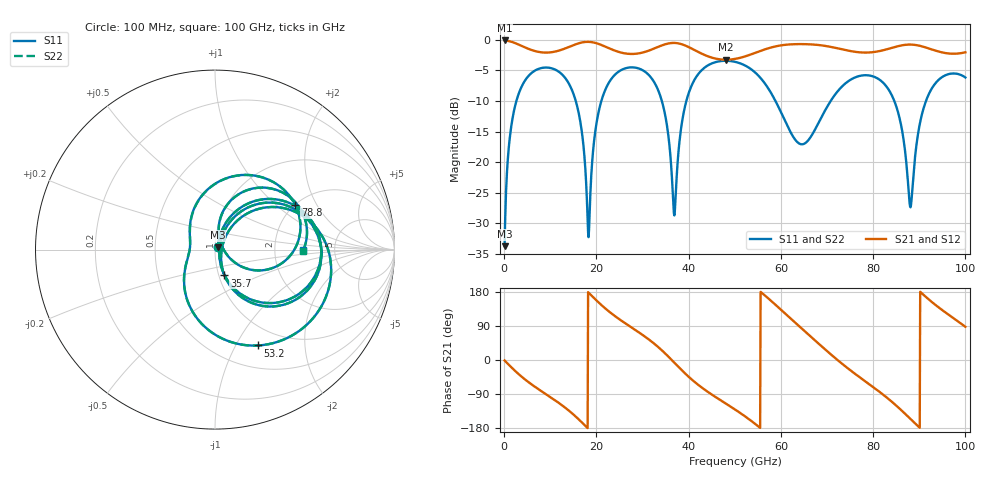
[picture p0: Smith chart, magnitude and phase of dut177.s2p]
! Touchstone file exported from HFSS 2026.1.0
!  File:  C:/ffzhzh/LocalFiles/Ansys_Project_Files/temp_train_TSV_RDL_177_1783652410_26216.aedt
!  Generated:  11:14:21 AM Jul 10, 2026
!  Design:  TSV_RDL
!  Project:  temp_train_TSV_RDL_177_1783652410_26216
! Variables:
!  h_bsmrdl = 3.54um
!  h_ox = 20um
!  h_rdl = 5um
!  h_sub = 58.97um
!  h_tmrdl = 4.46um
!  h_tsv = 58.97um
!  h_via = 3um
!  l_bsmrdl = 595.18um
!  l_sub = 3546.4um
!  l_tmrdl = 305.34um
!  m_sub = 200um
!  pitch = 54.97um
!  r_tsv = 6.16um
!  s_tmrdl = 10um
!  w_bsmrdl = 18.6um
!  w_sub = 500um
!  w_tmrdl = 27.9um
!  x_tsv_center1 = 319.29um
!  x_tsv_center2 = 933.07um
!  x_tsv_center3 = 1266.31um
!  x_tsv_center4 = 1880.09um
!  x_tsv_center5 = 2213.33um
!  x_tsv_center6 = 2827.11um
# GHz S MA R 50.000000
! Terminal data exported
! Port[1] = TM_RDL1_1_T1
! Port[2] = TM_RDL5_1_T1
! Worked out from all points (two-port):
!   1000 points, 100 MHz to 100 GHz, reference 50 ohm
!   highest |S21| = -0.13 dB at 100 MHz (marker M1); lowest = -3.3 dB at 48.1 GHz (marker M2)
!   |S21| within 3 dB of the highest: start of sweep to 46.09 GHz; 50.14 GHz to end of sweep
!   lowest |S11| = -33.7 dB at 100 MHz (marker M3), VSWR 1.04, Z = 51.6 + j1.41 ohm
!   |S11| at or under -10 dB: 15.52 GHz to 21.08 GHz (5.559 GHz wide, 30.4 % of centre); 58.81 GHz to 70.8 GHz (11.99 GHz wide, 18.5 % of centre); 84.58 GHz to 91.46 GHz (6.879 GHz wide, 7.82 % of centre) (the widest 3 of 5)
!   |S22| runs from -33.7 to -3.4 dB; largest |S21 - S12| = 2.1e-13
!   S11 on the Smith chart (normalised r, x): 100 MHz: 1.03, +0.03; 35.7 GHz: 1.06, -0.31; 53.2 GHz: 0.76, -1.24; 78.8 GHz: 2.01, +1.35; 100 GHz: 2.93, -0.04
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0.1  0.02062 41.4  0.9848 -1.3  0.9848 -1.3  0.02062 41.4
! Gamma 0 0 0 0
! Port Impedance 50 0 50 0
1.7  0.2145 63.9  0.9577 -21.0  0.9577 -21.0  0.2145 63.9
5.1  0.4964 30.8  0.846 -56.8  0.846 -56.8  0.4964 30.8
16.8  0.1818 -68.1  0.947 -164.0  0.947 -164.0  0.1818 -68.1
18.3  0.02442 -0.5  0.9591 177.8  0.9591 177.8  0.02431 -0.5
20.2  0.2276 58.1  0.9301 155.0  0.9301 155.0  0.2276 58.1
23.5  0.4923 27.9  0.8274 120.6  0.8274 120.6  0.4923 28.0
33.4  0.3857 -52.7  0.8735 34.2  0.8735 34.2  0.3857 -52.7
35.7  0.1531 -69.8  0.9319 7.8  0.9319 7.8  0.1531 -69.8
36.9  0.03675 -5.5  0.94 -7.0  0.94 -7.0  0.03691 -5.4
40.3  0.3925 37.2  0.859 -47.5  0.859 -47.5  0.3925 37.2
48.1  0.6722 -25.8  0.6857 -115.3  0.6857 -115.3  0.6722 -25.8
50.1  0.6584 -40.7  0.6967 -131.0  0.6967 -131.0  0.6585 -40.7
53.2  0.5856 -65.8  0.7504 -157.3  0.7504 -157.3  0.5856 -65.8
59  0.3064 -121.6  0.8836 143.9  0.8836 143.9  0.3064 -121.7
66.7  0.166 147.9  0.9139 59.2  0.9139 59.2  0.1662 147.3
71.9  0.3624 91.0  0.8557 3.8  0.8557 3.8  0.3626 90.7
78.8  0.5117 29.0  0.7848 -60.8  0.7848 -60.8  0.5117 28.9
83.4  0.3888 -10.1  0.8429 -103.5  0.8429 -103.5  0.3888 -10.1
88.1  0.04281 26.4  0.9116 -155.6  0.9116 -155.6  0.04373 26.5
92  0.3546 64.5  0.8489 160.4  0.8489 160.4  0.3548 64.4
100  0.4907 -0.5  0.788 87.6  0.788 87.6  0.4908 -0.6
